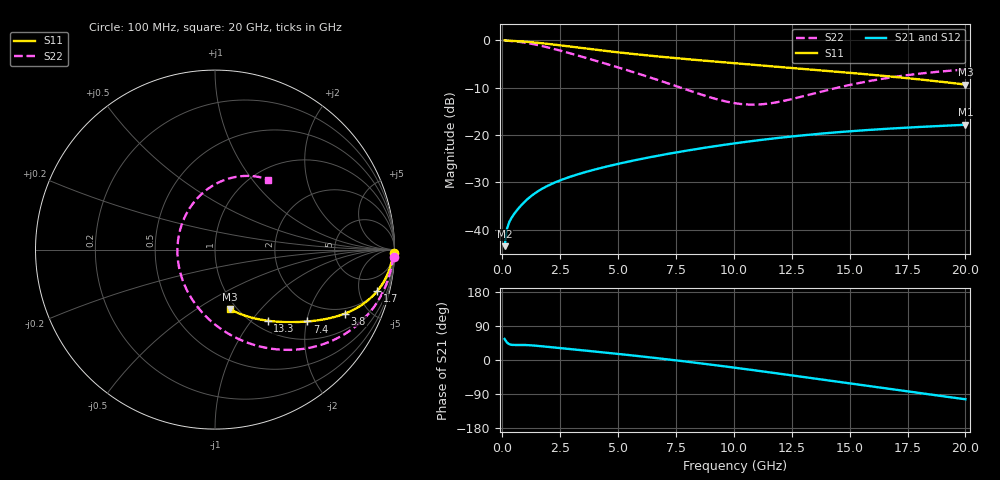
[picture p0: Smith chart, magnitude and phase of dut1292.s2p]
! Touchstone file exported from HFSS 2024.1.0
!  File:  C:/UserFiles/LocalFiles/RDL_TSV_Batchsim/temp_RDL_TSV_1292_1780280185.aedt
!  Generated:  10:30:56 AM Jun  1, 2026
!  Design:  RDL_TSV
!  Project:  temp_RDL_TSV_1292_1780280185
!  Setup:  Setup1
!  Solution:  Sweep
! Variables:
!  dtsv = 7.03um
!  hbump = 3um
!  htsv = 80.12um
!  ldown = 260.14um
!  lrdl = 403.57um
!  p = 40
!  p1 = 49.77um
!  rhole = 10um
!  subl = 2394.7um
!  t = 450um
!  tdown = 3.33um
!  trdl = 3.21um
!  viad = 10um
!  wdown = 10.87um
!  wrdl = 27.71um
!  xbump = 18um
# GHz S MA R 50.000000
! Terminal data exported
! Port[1] = TM1_1_T1
! Port[2] = TM1_4_T1
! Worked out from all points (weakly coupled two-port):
!   200 points, 100 MHz to 20 GHz, reference 50 ohm
!   highest |S21| = -17.82 dB at 20 GHz (marker M1); lowest = -43.4 dB at 100 MHz (marker M2)
!   lowest |S11| = -9.3 dB at 20 GHz (marker M3), VSWR 2.04, Z = 46.3 - j34.7 ohm
!   |S11| at or under -10 dB: nowhere
!   |S22| runs from -13.6 to 0.0 dB; largest |S21 - S12| = 2.9e-15
!   S11 on the Smith chart (normalised r, x): 100 MHz: 19, -96; 1.7 GHz: 2.07, -7.35; 3.8 GHz: 1.72, -3.52; 7.4 GHz: 1.45, -2.02; 13.3 GHz: 1.15, -1.21; 20 GHz: 0.93, -0.69
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0.1  0.9961 -1.2  0.006727 55.6  0.006727 55.6  0.9958 -2.2
! Gamma 0 0 0 0
! Port Impedance 50 0 50 0
0.2  0.9923 -2.1  0.0102 46.1  0.0102 46.1  0.9912 -4.3
0.3  0.9892 -3.0  0.01207 41.7  0.01207 41.7  0.9868 -6.2
0.4  0.9864 -3.9  0.0134 40.1  0.0134 40.1  0.9824 -8.2
0.7  0.978 -6.4  0.01685 39.8  0.01685 39.8  0.9659 -13.9
1  0.9671 -9.0  0.02016 39.5  0.02016 39.5  0.9433 -19.5
1.7  0.9326 -14.4  0.02697 36.3  0.02697 36.3  0.8726 -31.6
2.5  0.8849 -19.6  0.03329 31.4  0.03329 31.4  0.7787 -43.8
3.5  0.8248 -24.8  0.04012 25.4  0.04012 25.4  0.6647 -57.0
3.8  0.8078 -26.2  0.04207 23.5  0.04207 23.5  0.6328 -60.7
5.2  0.7372 -31.4  0.05093 14.8  0.05093 14.8  0.5002 -77.3
6.8  0.6724 -36.3  0.06106 4.1  0.06106 4.1  0.3756 -97.7
7.4  0.6514 -37.9  0.0649 -0.2  0.0649 -0.2  0.3355 -106.6
8.8  0.6075 -41.6  0.0739 -10.6  0.0739 -10.6  0.2581 -131.7
10.1  0.5714 -45.0  0.08219 -20.8  0.08219 -20.8  0.2159 -162.4
11.4  0.5381 -48.4  0.09022 -31.3  0.09022 -31.3  0.2136 163.2
13.3  0.4929 -53.5  0.1011 -47.3  0.1011 -47.3  0.2683 122.4
13.4  0.4905 -53.8  0.1016 -48.2  0.1016 -48.2  0.2722 120.7
15.1  0.4519 -58.7  0.1101 -62.7  0.1101 -62.7  0.3418 96.4
16.7  0.4162 -63.7  0.1169 -76.3  0.1169 -76.3  0.4028 79.1
18.3  0.3802 -69.4  0.1228 -89.7  0.1228 -89.7  0.4524 65.1
20  0.3412 -76.2  0.1285 -103.5  0.1285 -103.5  0.4908 52.6
